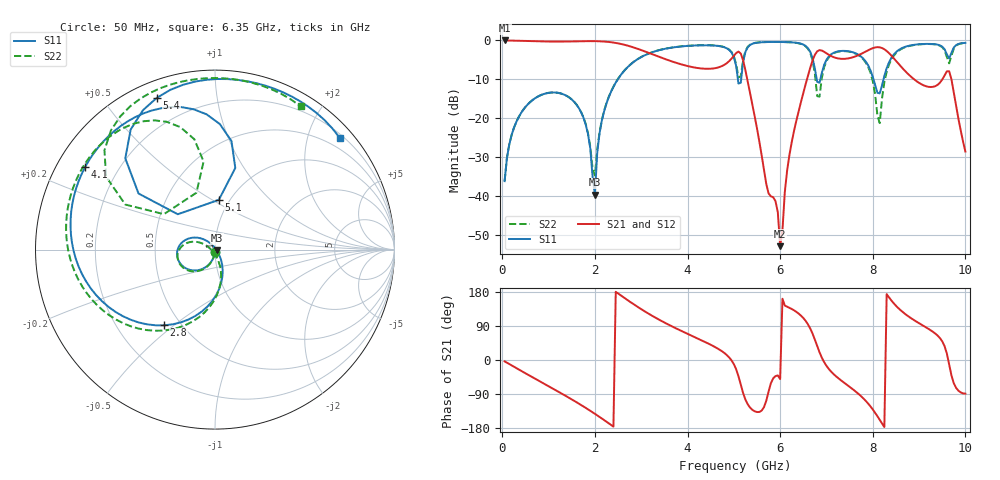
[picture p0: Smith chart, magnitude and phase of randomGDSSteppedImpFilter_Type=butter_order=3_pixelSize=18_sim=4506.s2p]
! freq	dB(S11)	phase(S11)	dB(S12)	phase(S12)
!  dB(S21)	phase(S21)	dB(S22)	phase(S22)
!S-par simulation data
#  GHz  S  DB  R 50
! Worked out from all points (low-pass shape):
!   200 points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, 50 MHz to 10 GHz, reference 50 ohm
!   highest |S21| = -0.01 dB at 50 MHz (marker M1); lowest = -53.0 dB at 6 GHz (marker M2)
!   |S21| within 3 dB of the highest: start of sweep to 3.119 GHz; 7.824 GHz to 8.326 GHz (502.6 MHz wide, 6.22 % of centre) (the widest 2 of 4)
!   lowest |S11| = -39.7 dB at 2 GHz (marker M3), VSWR 1.02, Z = 51 - j0.365 ohm
!   |S11| at or under -10 dB: start of sweep to 2.495 GHz; 5.088 GHz to 5.158 GHz (70.49 MHz wide, 1.38 % of centre); 8.015 GHz to 8.232 GHz (217.4 MHz wide, 2.68 % of centre) (the widest 3 of 4)
!   |S22| runs from -36.2 to -0.4 dB; largest |S21 - S12| = 0
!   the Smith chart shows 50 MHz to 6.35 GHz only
!   S11 on the Smith chart (normalised r, x): 50 MHz: 1.00, -0.03; 2.8 GHz: 0.41, -0.46; 4.1 GHz: 0.08, +0.29; 5.1 GHz: 0.89, +0.54; 5.4 GHz: 0.07, +0.69; 6.35 GHz: 0.27, +2.59
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0.05  -36.23 -93.1  -0.01 -3.6  -0.01 -3.6  -36.22 -92.9
0.65  -15.38 -137.1  -0.19 -45.4  -0.19 -45.4  -15.38 -134.5
1.75  -19.80 141.9  -0.20 -122.4  -0.20 -122.4  -19.75 156.1
2  -39.74 -20.3  -0.19 -142.0  -0.19 -142.0  -34.77 -111.7
2.2  -18.18 -69.7  -0.29 -158.6  -0.29 -158.6  -18.07 -74.7
2.8  -5.88 -123.9  -1.67 150.1  -1.67 150.1  -5.86 -119.0
3.4  -2.46 -169.6  -4.28 105.5  -4.28 105.5  -2.45 -161.2
4.1  -1.33 147.5  -6.86 63.4  -6.86 63.4  -1.32 159.3
5.05  -6.58 76.0  -3.25 -24.5  -3.25 -24.5  -6.12 97.4
5.1  -11.12 85.6  -2.87 -42.9  -2.87 -42.9  -9.54 108.1
5.4  -0.86 111.0  -16.50 -131.5  -16.50 -131.5  -0.81 125.4
6  -0.40 66.5  -52.96 -50.3  -52.96 -50.3  -0.40 83.8
6.35  -0.60 41.9  -20.65 127.0  -20.65 127.0  -0.63 59.1
6.7  -4.59 0.2  -5.15 69.4  -5.15 69.4  -5.12 10.8
6.9  -8.36 53.2  -2.61 6.2  -2.61 6.2  -9.67 87.7
7.2  -2.97 33.1  -4.49 -42.4  -4.49 -42.4  -3.07 57.8
7.8  -4.74 -13.2  -3.16 -101.8  -3.16 -101.8  -4.92 4.3
8.15  -13.63 20.3  -1.77 -157.8  -1.77 -157.8  -21.28 61.3
8.35  -5.65 40.1  -3.27 165.3  -3.27 165.3  -6.25 78.5
9.05  -0.94 -12.6  -11.28 93.4  -11.28 93.4  -0.98 14.8
9.65  -4.62 -32.6  -7.95 -11.8  -7.95 -11.8  -5.90 -7.0
10  -0.64 -42.5  -28.62 -88.9  -28.62 -88.9  -0.64 -16.8
